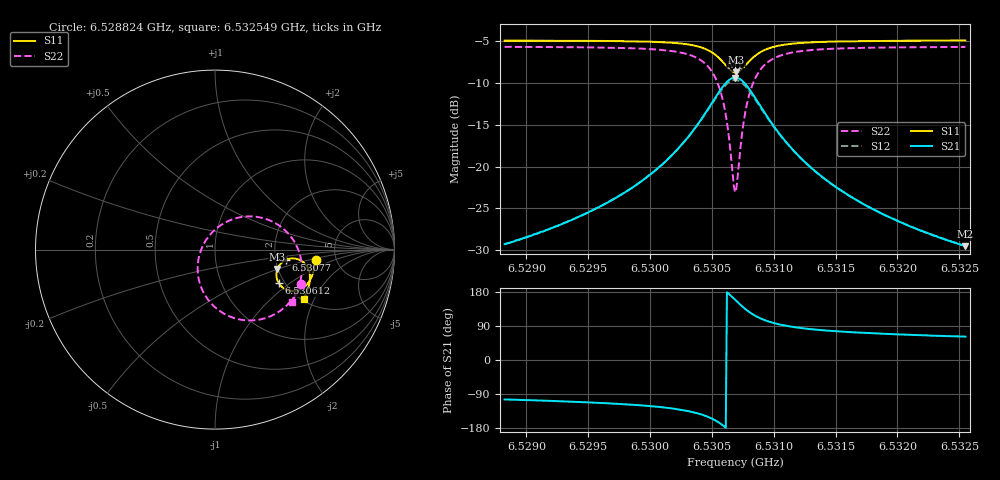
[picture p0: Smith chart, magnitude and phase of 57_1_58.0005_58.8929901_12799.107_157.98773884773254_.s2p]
#  HZ  S  RI  R  50.00
! Rohde & Schwarz Vector Network Analyzer
! Rohde-Schwarz,ZNB20-2Port,1311601062101988,3.16
! Created: UTC 3/21/2024, 12:52:49 AM
! freq[Hz]  re:S11  im:S11  re:S21  im:S21  re:S12  im:S12  re:S22  im:S22
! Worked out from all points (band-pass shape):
!   401 points, 6.528824 GHz to 6.532549 GHz, reference 50 ohm
!   highest |S21| = -9.38 dB at 6.530687 GHz (marker M1); lowest = -29.5 dB at 6.532549 GHz (marker M2)
!   |S21| within 3 dB of the highest: 6.530501 GHz to 6.530874 GHz (372.7 kHz wide, 0.00571 % of centre)
!   lowest |S11| = -8.8 dB at 6.530696 GHz (marker M3), VSWR 2.15, Z = 99.3 - j24.6 ohm
!   |S11| at or under -10 dB: nowhere
!   |S22| runs from -23.1 to -5.7 dB; largest |S21 - S12| = 0.015
!   S11 on the Smith chart (normalised r, x): 6.528824 GHz: 3.47, -0.59; 6.530612 GHz: 1.86, -0.83; 6.53077 GHz: 2.29, -0.31; 6.532549 GHz: 2.05, -1.66
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6.5288241e9  0.5607 -0.0582  -0.00837 -0.0334  -0.00911 -0.0333  0.4816 -0.1894
6.529448e9  0.5513 -0.1121  -0.0184 -0.0477  -0.0196 -0.0474  0.4491 -0.2512
6.5297833e9  0.5408 -0.1452  -0.031 -0.0619  -0.0327 -0.0611  0.4162 -0.2941
6.5300719e9  0.5236 -0.179  -0.0553 -0.0823  -0.0575 -0.0808  0.3617 -0.3423
6.5302954e9  0.4937 -0.2111  -0.1015 -0.1054  -0.1049 -0.1016  0.2677 -0.3855
6.5304537e9  0.4445 -0.2305  -0.1803 -0.1118  -0.1827 -0.1039  0.1238 -0.3863
6.5305469e9  0.3937 -0.2217  -0.2595 -0.0787  -0.258 -0.0671  -0.0076 -0.3139
6.5305841e9  0.3709 -0.206  -0.2937 -0.0445  -0.2887 -0.0324  -0.0581 -0.2493
6.530612e9  0.3557 -0.1874  -0.3147 -0.00791  -0.3068 0.00337  -0.0858 -0.1842
6.53064e9  0.3454 -0.1634  -0.3271 0.0369  -0.3163 0.0466  -0.0968 -0.1073
6.5306679e9  0.3423 -0.1357  -0.3263 0.0871  -0.3138 0.0935  -0.0854 -0.0253
6.5306865e9  0.3451 -0.1166  -0.3177 0.1203  -0.3046 0.1244  -0.0647 0.0275
6.5306958e9  0.348 -0.1074  -0.311 0.1362  -0.2977 0.139  -0.0506 0.0522
6.5307424e9  0.3751 -0.0698  -0.2576 0.2002  -0.2466 0.1979  0.0488 0.1466
6.5307703e9  0.3971 -0.0564  -0.2176 0.222  -0.2087 0.2183  0.1189 0.1753
6.5308355e9  0.4463 -0.0501  -0.1309 0.2321  -0.1263 0.2279  0.2653 0.1759
6.5309286e9  0.492 -0.0705  -0.0534 0.2009  -0.0515 0.1986  0.3916 0.1066
6.5310683e9  0.5197 -0.1081  -0.00576 0.1492  -0.00462 0.1484  0.4631 0.00143
6.5313104e9  0.529 -0.1548  0.015 0.096  0.0162 0.0957  0.4838 -0.1092
6.5315898e9  0.5252 -0.1911  0.0186 0.0658  0.0196 0.0657  0.4754 -0.1786
6.5319343e9  0.5155 -0.2252  0.0182 0.0464  0.019 0.0463  0.4587 -0.2311
6.5325489e9  0.4942 -0.2745  0.0159 0.0295  0.0165 0.0292  0.4269 -0.2918
